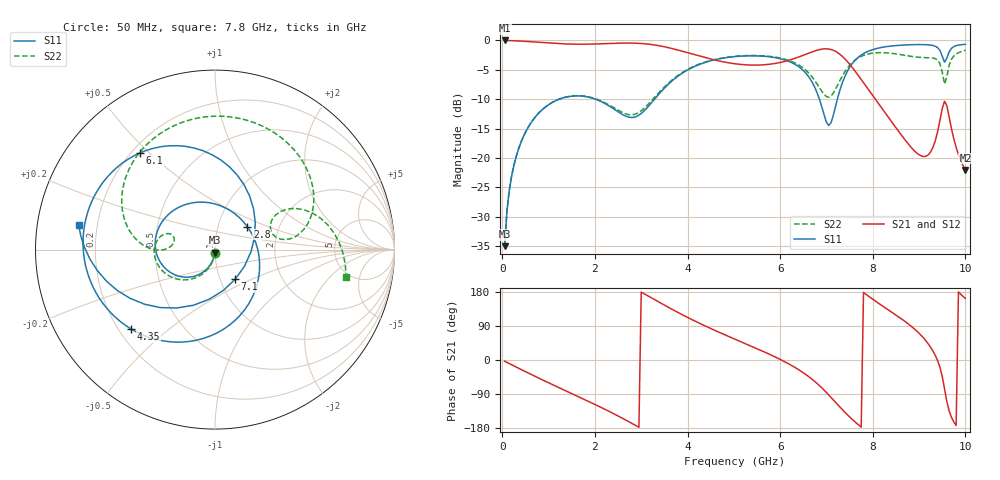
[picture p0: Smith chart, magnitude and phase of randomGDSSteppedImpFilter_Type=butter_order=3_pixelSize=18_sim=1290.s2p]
! freq	dB(S11)	phase(S11)	dB(S12)	phase(S12)
!  dB(S21)	phase(S21)	dB(S22)	phase(S22)
!S-par simulation data
#  GHz  S  DB  R 50
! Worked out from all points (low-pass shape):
!   200 points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, 50 MHz to 10 GHz, reference 50 ohm
!   highest |S21| = -0.01 dB at 50 MHz (marker M1); lowest = -22.1 dB at 10 GHz (marker M2)
!   |S21| within 3 dB of the highest: start of sweep to 4.419 GHz; 6.335 GHz to 7.38 GHz (1.046 GHz wide, 15.2 % of centre)
!   lowest |S11| = -35.0 dB at 50 MHz (marker M3), VSWR 1.04, Z = 49.9 - j1.77 ohm
!   |S11| at or under -10 dB: start of sweep to 1.231 GHz; 2.012 GHz to 3.287 GHz (1.275 GHz wide, 48.1 % of centre); 6.847 GHz to 7.235 GHz (387.8 MHz wide, 5.51 % of centre)
!   |S22| runs from -35.0 to -1.7 dB; largest |S21 - S12| = 0
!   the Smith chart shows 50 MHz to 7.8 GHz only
!   S11 on the Smith chart (normalised r, x): 50 MHz: 1.00, -0.04; 2.8 GHz: 1.38, +0.37; 4.35 GHz: 0.25, -0.38; 6.1 GHz: 0.23, +0.47; 7.1 GHz: 1.18, -0.40; 7.8 GHz: 0.13, +0.09
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0.05  -35.01 -93.0  -0.01 -3.2  -0.01 -3.2  -35.01 -92.7
0.2  -23.15 -103.3  -0.04 -12.4  -0.04 -12.4  -23.15 -102.1
0.5  -15.64 -122.8  -0.16 -30.7  -0.16 -30.7  -15.63 -119.6
1.1  -10.47 -160.9  -0.49 -65.9  -0.49 -65.9  -10.45 -152.0
1.75  -9.50 155.8  -0.65 -102.7  -0.65 -102.7  -9.45 178.1
2.8  -13.12 35.4  -0.46 -167.3  -0.46 -167.3  -12.66 169.1
3.4  -8.97 -58.2  -0.92 151.6  -0.92 151.6  -8.72 178.7
3.85  -5.77 -101.4  -1.76 121.8  -1.76 121.8  -5.65 162.9
4.35  -3.82 -136.7  -2.86 91.6  -2.86 91.6  -3.75 138.7
5.05  -2.74 -175.6  -4.00 53.6  -4.00 53.6  -2.69 102.8
6.1  -3.32 127.9  -3.57 -4.7  -3.57 -4.7  -3.19 45.1
6.7  -7.24 73.6  -1.92 -51.8  -1.92 -51.8  -6.32 10.9
7.1  -13.99 -55.7  -1.55 -98.8  -1.55 -98.8  -9.44 24.1
7.4  -6.08 -142.2  -3.16 -138.2  -3.16 -138.2  -5.31 24.2
7.8  -2.25 169.8  -7.19 178.2  -7.19 178.2  -2.55 -11.7
8.35  -1.00 131.9  -13.23 131.2  -13.23 131.2  -2.15 -70.8
8.7  -0.77 114.0  -16.95 101.5  -16.95 101.5  -2.55 -117.1
9.1  -0.71 95.2  -19.76 57.6  -19.76 57.6  -2.92 178.2
9.4  -1.23 78.3  -15.55 -1.6  -15.55 -1.6  -3.34 122.6
9.55  -3.70 79.3  -10.36 -76.0  -10.36 -76.0  -7.42 108.9
9.65  -1.93 87.5  -13.05 -134.7  -13.05 -134.7  -4.20 117.0
10  -0.67 68.4  -22.07 162.7  -22.07 162.7  -1.67 68.0
